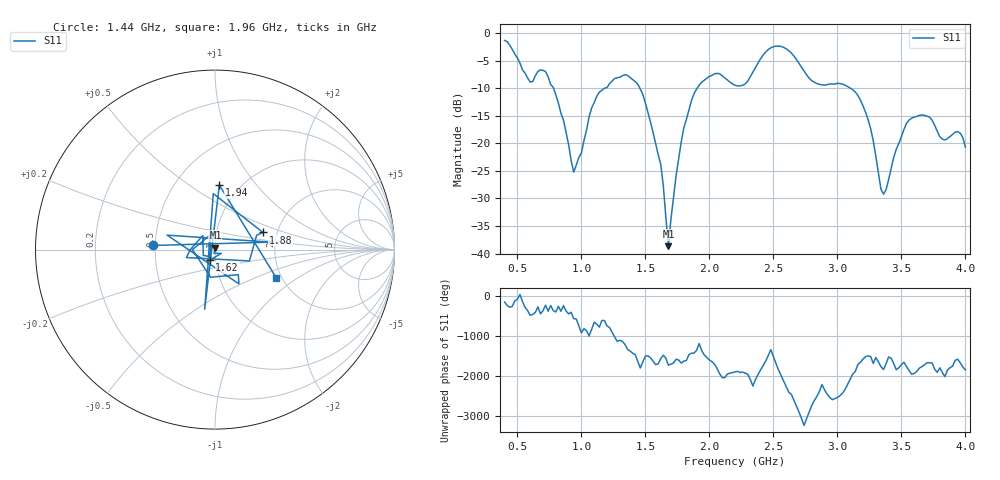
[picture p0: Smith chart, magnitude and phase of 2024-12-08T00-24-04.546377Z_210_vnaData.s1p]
!Created with skrf (http://scikit-rf.org).
# Hz S RI R 50.0
!freq ReS11 ImS11
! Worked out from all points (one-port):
!   181 points, 400 MHz to 4 GHz, reference 50 ohm
!   lowest |S11| = -38.7 dB at 1.68 GHz (marker M1), VSWR 1.02, Z = 50.2 + j1.15 ohm
!   |S11| at or under -10 dB: 782.9 MHz to 1.178 GHz (395.3 MHz wide, 40.3 % of centre); 1.458 GHz to 1.903 GHz (445.6 MHz wide, 26.5 % of centre); 3.103 GHz to end of sweep
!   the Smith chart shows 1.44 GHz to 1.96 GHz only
!   S11 on the Smith chart (normalised r, x): 1.44 GHz: 0.49, +0.03; 1.62 GHz: 0.94, -0.11; 1.88 GHz: 1.68, +0.35; 1.94 GHz: 0.80, +0.66; 1.96 GHz: 1.87, -0.68
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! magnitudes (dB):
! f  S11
! 400 MHz  -1.3
! 600 MHz  -8.8
! 720 MHz  -7.0
! 860 MHz  -15.8
! 940 MHz  -25.2
! 1.12 GHz  -11.5
! 1.3 GHz  -8.0
! 1.44 GHz  -9.2
! 1.62 GHz  -23.8
! 1.68 GHz  -38.7
! 1.76 GHz  -22.8
! 1.8 GHz  -17.2
! 1.88 GHz  -10.9
! 1.94 GHz  -8.9
! 1.96 GHz  -8.5
! 2.2 GHz  -9.4
! 2.28 GHz  -9.2
! 2.48 GHz  -2.6
! 2.66 GHz  -4.1
! 2.82 GHz  -8.9
! 3.1 GHz  -9.9
! 3.24 GHz  -15.7
! 3.36 GHz  -29.2
! 3.56 GHz  -15.8
! 3.72 GHz  -15.2
! 3.82 GHz  -19.2
! 3.94 GHz  -17.8
! 4 GHz  -20.7
